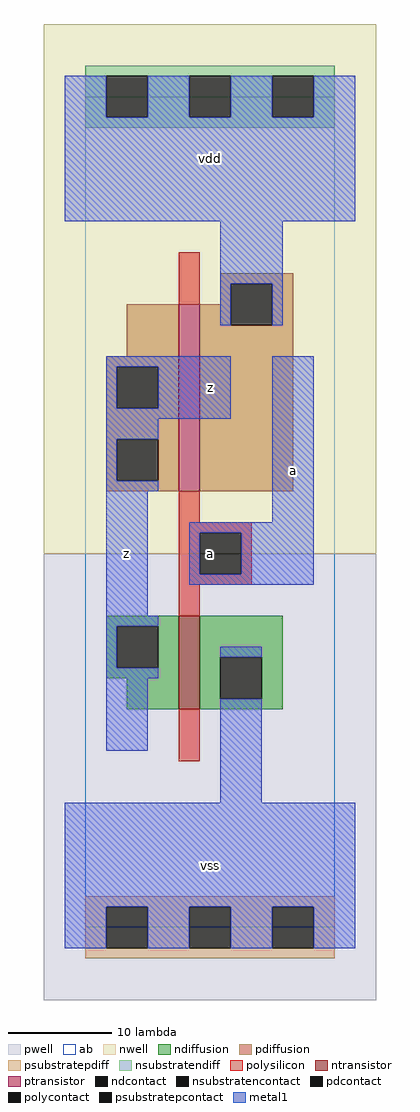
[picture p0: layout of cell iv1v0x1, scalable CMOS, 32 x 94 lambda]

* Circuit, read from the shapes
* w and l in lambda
.subckt iv1v0x1 a vdd vss z
M1 vss a z vss nfet w=9 l=2
M2 vdd a z vdd pfet w=18 l=2
.ends

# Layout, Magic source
magic
tech scmos
<< ab >>
rect 0 0 24 80
<< pwell >>
rect -4 -7 28 36
<< nwell >>
rect -4 36 28 87
<< polysilicon >>
rect 9 60 11 65
rect 9 39 11 42
rect 9 38 16 39
rect 9 34 11 38
rect 15 34 16 38
rect 9 33 16 34
rect 9 30 11 33
rect 9 16 11 21
<< ndiffusion >>
rect 2 29 9 30
rect 2 25 3 29
rect 7 25 9 29
rect 2 24 9 25
rect 4 21 9 24
rect 11 26 19 30
rect 11 22 13 26
rect 17 22 19 26
rect 11 21 19 22
<< pdiffusion >>
rect 13 62 20 63
rect 13 60 14 62
rect 4 55 9 60
rect 2 54 9 55
rect 2 50 3 54
rect 7 50 9 54
rect 2 47 9 50
rect 2 43 3 47
rect 7 43 9 47
rect 2 42 9 43
rect 11 58 14 60
rect 18 58 20 62
rect 11 42 20 58
<< metal1 >>
rect -2 78 2 82
rect 6 78 10 82
rect 14 78 18 82
rect 22 78 26 82
rect -2 68 26 78
rect 13 62 19 68
rect 13 58 14 62
rect 18 58 19 62
rect 2 54 14 55
rect 2 50 3 54
rect 7 50 14 54
rect 2 49 14 50
rect 2 47 7 49
rect 2 43 3 47
rect 2 42 7 43
rect 2 30 6 42
rect 18 39 22 55
rect 10 38 22 39
rect 10 34 11 38
rect 15 34 22 38
rect 10 33 22 34
rect 2 29 7 30
rect 2 25 3 29
rect 2 24 7 25
rect 13 26 17 27
rect 2 17 6 24
rect 13 12 17 22
rect -2 2 26 12
rect -2 -2 2 2
rect 6 -2 10 2
rect 14 -2 18 2
rect 22 -2 26 2
<< ntransistor >>
rect 9 21 11 30
<< ptransistor >>
rect 9 42 11 60
<< polycontact >>
rect 11 34 15 38
<< ndcontact >>
rect 3 25 7 29
rect 13 22 17 26
<< pdcontact >>
rect 3 50 7 54
rect 3 43 7 47
rect 14 58 18 62
<< psubstratepcontact >>
rect 2 -2 6 2
rect 10 -2 14 2
rect 18 -2 22 2
<< nsubstratencontact >>
rect 2 78 6 82
rect 10 78 14 82
rect 18 78 22 82
<< psubstratepdiff >>
rect 0 2 24 3
rect 0 -2 2 2
rect 6 -2 10 2
rect 14 -2 18 2
rect 22 -2 24 2
rect 0 -3 24 -2
<< nsubstratendiff >>
rect 0 82 24 83
rect 0 78 2 82
rect 6 78 10 82
rect 14 78 18 82
rect 22 78 24 82
rect 0 77 24 78
<< labels >>
rlabel metal1 4 36 4 36 6 z
rlabel metal1 12 6 12 6 6 vss
rlabel polycontact 12 36 12 36 6 a
rlabel metal1 12 52 12 52 6 z
rlabel metal1 12 74 12 74 6 vdd
rlabel metal1 20 44 20 44 6 a
<< end >>
